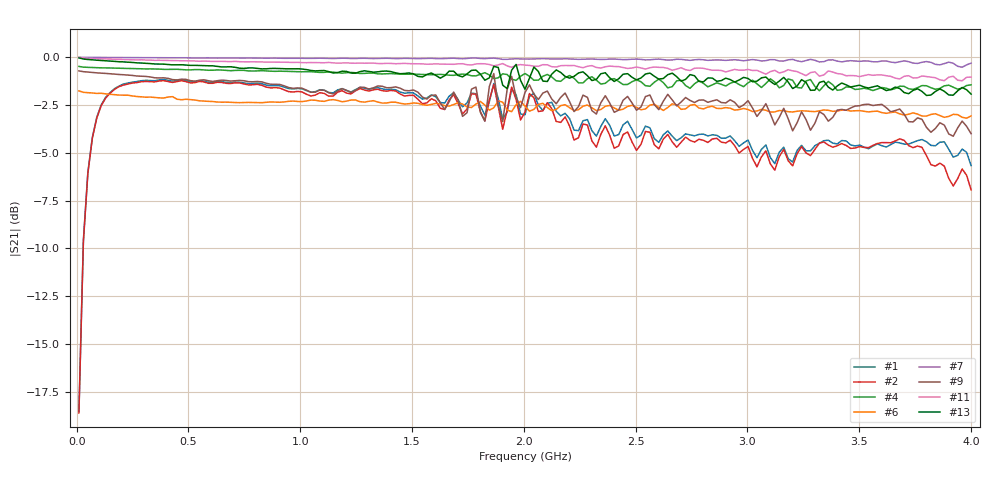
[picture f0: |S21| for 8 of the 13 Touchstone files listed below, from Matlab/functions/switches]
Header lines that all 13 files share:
! CHANNEL.1
! TR.MEASUREMENT
! CORRECTED.DATA
# GHZ S RI R 50.0
! FREQ.GHZ  S11RE  S11IM  S21RE  S21IM  S12RE  S12IM  S22RE  S22IM
!; PortSelection: Port_12
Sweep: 10 MHz to 4 GHz
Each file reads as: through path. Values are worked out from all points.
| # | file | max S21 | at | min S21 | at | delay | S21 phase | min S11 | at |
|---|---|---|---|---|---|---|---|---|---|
| 1 | Design1-RF1-RF1.s2p | -1.17 dB | 389.1 MHz | -18.5 dB | 10 MHz | 1.16 ns | -103 deg at 2.005 GHz | -36.7 dB | 3.541 GHz |
| 2 | Design1-RF1-RF2-ON.s2p | -1.23 dB | 389.1 MHz | -18.6 dB | 10 MHz | 1.16 ns | -107 deg at 2.005 GHz | -27.3 dB | 3.521 GHz |
| 3 | Design3-RF1-RF1.s2p | -1.78 dB | 10 MHz | -6.5 dB | 3.96 GHz | 1.08 ns | -60 deg at 2.005 GHz | -34.8 dB | 3.481 GHz |
| 4 | EM-Switch-ON.s2p | -0.48 dB | 10 MHz | -1.8 dB | 3.322 GHz | 235 ps | -172 deg at 2.005 GHz | -27.1 dB | 109.8 MHz |
| 5 | EVAL_pe42441-RF1-ON.s2p | -0.74 dB | 10 MHz | -1.8 dB | 3.98 GHz | 219 ps | -160 deg at 2.005 GHz | -33.5 dB | 3.721 GHz |
| 6 | EVAL_pe42441-RF1-RF1-State-00-00.s2p | -1.76 dB | 10 MHz | -3.2 dB | 3.98 GHz | 625 ps | -93 deg at 2.005 GHz | -33.5 dB | 788 MHz |
| 7 | Mini-Circuit-COM-1-ON.s2p | 0.00 dB | 10 MHz | -0.5 dB | 3.96 GHz | 20.7 ps | -13 deg at 2.005 GHz | -58.4 dB | 29.95 MHz |
| 8 | Output1-RF1-ON.s2p | -0.72 dB | 10 MHz | -4.7 dB | 3.92 GHz | 1.04 ns | -31 deg at 2.005 GHz | -33.8 dB | 448.9 MHz |
| 9 | Output1-RF2-ON.s2p | -0.72 dB | 10 MHz | -4.1 dB | 3.92 GHz | 1.04 ns | -29 deg at 2.005 GHz | -41.6 dB | 428.9 MHz |
| 10 | SMA-500mm-Flexible.s2p | -0.04 dB | 10 MHz | -1.9 dB | 3.98 GHz | 2.17 ns | -127 deg at 2.005 GHz | -48.5 dB | 2.444 GHz |
| 11 | SMA-500mm-Rigid.s2p | -0.02 dB | 10 MHz | -1.2 dB | 3.96 GHz | 2.4 ns | 63 deg at 2.005 GHz | -56.6 dB | 2.165 GHz |
| 12 | SMA-UFL-black.s2p | 0.01 dB | 1.865 GHz | -2.3 dB | 3.202 GHz | 742 ps | -177 deg at 2.005 GHz | -45.6 dB | 10 MHz |
| 13 | SMA-UFL-long.s2p | -0.04 dB | 10 MHz | -2.0 dB | 3.8 GHz | 1.22 ns | -163 deg at 2.005 GHz | -42.8 dB | 10 MHz |
